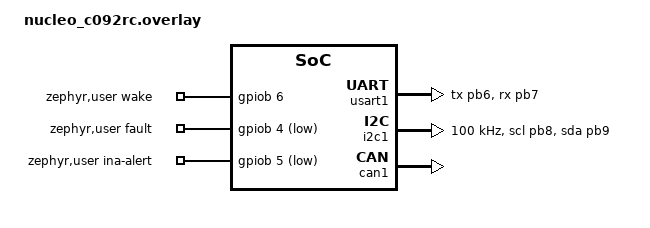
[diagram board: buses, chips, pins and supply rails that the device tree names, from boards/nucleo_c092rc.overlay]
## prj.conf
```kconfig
CONFIG_POLL=y
CONFIG_CAN=y
CONFIG_GPIO=y
CONFIG_ADC=y
CONFIG_PWM=y
CONFIG_CAN_INIT_PRIORITY=80

CONFIG_SHELL=y
CONFIG_CAN_SHELL=y
CONFIG_DEVICE_SHELL=y

CONFIG_GPIO=y
CONFIG_STATS=y
CONFIG_STATS_NAMES=y
CONFIG_STATS_SHELL=y
CONFIG_CAN_STATS=y

# Logging
CONFIG_LOG=y
CONFIG_LOG_MODE_MINIMAL=y
CONFIG_PRINTK=y

# Reasonable main stack
CONFIG_MAIN_STACK_SIZE=2048
```

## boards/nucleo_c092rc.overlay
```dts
/ {
	zephyr,user {
		wake-gpios = <&gpiob 6 GPIO_ACTIVE_HIGH>;
		fault-gpios = <&gpiob 4 GPIO_ACTIVE_LOW>;
		ina-alert-gpios = <&gpiob 5 GPIO_ACTIVE_LOW>;
	};
};

&pinctrl {
	usart1_tx_pb6: usart1_tx_pb6 {
		pinmux = <STM32_PINMUX('B', 6, AF0)>;
		bias-pull-up;
	};

	usart1_rx_pb7: usart1_rx_pb7 {
		pinmux = <STM32_PINMUX('B', 7, AF0)>;
	};

	i2c1_scl_pb8: i2c1_scl_pb8 {
		pinmux = <STM32_PINMUX('B', 8, AF6)>;
		bias-pull-up;
		drive-open-drain;
	};

	i2c1_sda_pb9: i2c1_sda_pb9 {
		pinmux = <STM32_PINMUX('B', 9, AF6)>;
		bias-pull-up;
		drive-open-drain;
	};
};

&usart1 {
	pinctrl-0 = <&usart1_tx_pb6 &usart1_rx_pb7>;
	pinctrl-names = "default";

	dmas = <&dma1 1 51 (STM32_DMA_PERIPH_TX | STM32_DMA_PRIORITY_HIGH)>,
	       <&dma1 2 50 (STM32_DMA_PERIPH_RX | STM32_DMA_PRIORITY_HIGH)>;
	dma-names = "tx", "rx";
};

&i2c1 {
	pinctrl-0 = <&i2c1_scl_pb8 &i2c1_sda_pb9>;
	pinctrl-names = "default";
	clock-frequency = <I2C_BITRATE_STANDARD>;
};

&can1 {
	status = "okay";
};

&usb {
	status = "disabled";
};
```

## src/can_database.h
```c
#ifndef CAN_DATABASE_H
#define CAN_DATABASE_H

#include <stdint.h>

/*
 * Add new CAN message IDs here
 * 
 * filters and receiving behavior can be added in can_receiver
 * 
 * frame information and format can be added in can_sender
 */

/* ---------- CAN Message IDs ---------- */

#define ACCELERATOR_MSG_ID 0x080
#define MOTOR_DUTY_MSG_ID 0x100

#endif
```

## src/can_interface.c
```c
/*
 * CAN Interface module implementation for the VCU system.
 *
 * This file contains the low-level CAN hardware initialization logic.
 * It is responsible for:
 *
 *  - Obtaining the CAN peripheral from the Zephyr devicetree
 *  - Configuring CAN bus timing
 *  - Setting CAN operating modes
 *  - Starting the CAN controller
 */

#include <stdio.h>

#include <zephyr/device.h>
#include <zephyr/devicetree.h>
#include <zephyr/drivers/can.h>

#include "can_interface.h"
#include "can_database.h"

/*
 * Global CAN device handle.
 *
 * DEVICE_DT_GET() retrieves the CAN peripheral specified by the
 * zephyr_canbus entry in the Zephyr devicetree configuration.
 */
const struct device *const can_dev =
	DEVICE_DT_GET(DT_CHOSEN(zephyr_canbus));

/*
 * Returns the CAN device handle used by the system.
 *
 * Other modules can call this function to access the initialized
 * CAN controller without directly owning the global variable.
 *
 * Returns:
 *  Pointer to CAN device structure.
 */
const struct device *can_interface_get_device(void) {
	return can_dev;
}

/*
 * Initializes and starts the CAN controller.
 *
 * This function:
 *  1. Calculates CAN timing parameters
 *  2. Configures CAN bitrate and sample point
 *  3. Verifies the CAN hardware is ready
 *  4. Optionally enables loopback mode
 *  5. Starts the CAN controller
 *
 * Current configuration:
 *  - Bitrate: 500 kbps
 *  - Sample point: 87.5%
 *
 * Parameters:
 *  can_dev - Pointer to CAN device to initialize.
 *
 * Returns:
 *   0  -> Initialization successful
 *  <0  -> Initialization failed
 */
int can_interface_init(const struct device *can_dev) {
	int ret;

	/*
	 * Structure used by Zephyr to store calculated CAN timing
	 * parameters such as prescaler and time segments.
	 */
	struct can_timing timing;

	//set bitrate to 500K and sample point to 87.5%
	ret = can_calc_timing(can_dev, &timing, 500000, 875);

	if (ret != 0) {
		printf("Error calculating CAN timing [%d]\n", ret);
		return ret;
	}

	/* Apply calculated timing settings to CAN controller */
	ret = can_set_timing(can_dev, &timing);

	if (ret != 0) {
		printf("Error setting CAN timing [%d]\n", ret);
		return ret;
	}

	/* Verify CAN hardware is initialized and ready */
	if (!device_is_ready(can_dev)) {
		printf("CAN ERROR! Device %s not ready.\n", can_dev->name);
		return -ENODEV;
	}

#ifdef CONFIG_LOOPBACK_MODE

	/*
	 * Enable internal CAN loopback mode.
	 *
	 * In loopback mode:
	 *  - transmitted messages are immediately received locally
	 *  - no external CAN transceiver or bus is required
	 */
	ret = can_set_mode(can_dev, CAN_MODE_LOOPBACK);

	if (ret != 0) {
		printf("Error setting CAN mode [%d]\n", ret);
		return ret;
	}

#endif

	/* Start CAN controller operation */
	ret = can_start(can_dev);

	if (ret != 0) {
		printf("Error starting CAN controller [%d]\n", ret);
		return ret;
	}

	printf("CAN interface initialized successfully\n");

	return 0;
}
```

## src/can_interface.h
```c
/*
 * CAN Interface module for the VCU system.
 *
 * This module is responsible for:
 *  - Owning the CAN controller device handle
 *  - Initializing the CAN peripheral
 *  - Configuring CAN bus timing and operating mode
 *  - Starting the CAN controller
 *  - defining CAN message IDs
 *
 * The purpose of this module is to isolate all low-level CAN hardware
 * configuration from the application layer. Other modules should access
 * the CAN device through the provided interface functions rather than
 * directly declaring or configuring CAN hardware themselves.
 */

#ifndef CAN_INTERFACE_H
#define CAN_INTERFACE_H

#include <stdint.h>
#include <zephyr/drivers/can.h>

/* ---------- Public Interface ---------- */

/*
 * Returns a pointer to the CAN controller device used by the system.
 *
 * This allows other modules (CAN transmitter, receiver, diagnostics, etc.)
 * to access the initialized CAN hardware without directly owning the
 * global device handle.
 *
 * Returns:
 *  Pointer to Zephyr CAN device structure.
 */
const struct device *can_interface_get_device(void);

/*
 * Initializes the CAN controller hardware.
 *
 * This function performs:
 *  - CAN timing calculation
 *  - bitrate configuration
 *  - optional loopback mode configuration
 *  - CAN controller startup
 *
 * Parameters:
 *  can_dev - Pointer to the CAN device to initialize.
 *
 * Returns:
 *   0  -> Initialization successful
 *  <0  -> Error occurred during setup
 */
int can_interface_init(const struct device *can_dev);

#endif /* CAN_INTERFACE_H */
```
